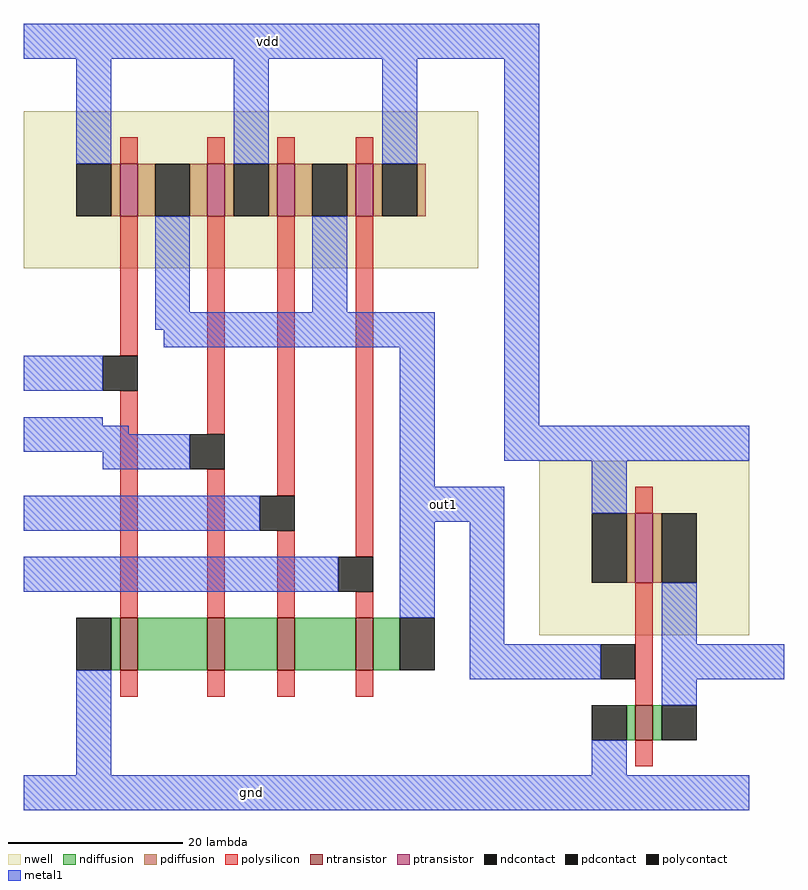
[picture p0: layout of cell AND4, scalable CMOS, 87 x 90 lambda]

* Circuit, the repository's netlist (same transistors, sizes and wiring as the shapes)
* SPICE3 file created from AND4.ext - technology: scmos

.include TSMC_180nm.txt

vdd vdd gnd 2.0V

.option scale=0.09u

Vin1 A gnd pulse(0 2.0 0 0.01p 0.01p 10n 20n)
Vin2 B gnd pulse(0 2.0 0 0.01p 0.01p 20n 40n)
Vin3 C gnd pulse(0 2.0 0 0.01p 0.01p 40n 80n)
Vin4 D gnd pulse(0 2.0 0 0.01p 0.01p 80n 160n)

M1000 outout OUT vdd NOT_0/w_0_0# CMOSP w=8 l=2
+  ad=40 pd=26 as=142 ps=96
M1001 outout OUT gnd gnd CMOSN w=4 l=2
+  ad=20 pd=18 as=50 ps=40
M1002 a_7_n52# A gnd gnd CMOSN w=6 l=2
+  ad=48 pd=28 as=0 ps=0
M1003 a_25_n52# C a_17_n52# gnd CMOSN w=6 l=2
+  ad=42 pd=26 as=36 ps=24
M1004 vdd B OUT w_n6_n6# CMOSP w=6 l=2
+  ad=0 pd=0 as=90 ps=54
M1005 vdd D OUT w_n6_n6# CMOSP w=6 l=2
+  ad=0 pd=0 as=0 ps=0
M1006 OUT C vdd w_n6_n6# CMOSP w=6 l=2
+  ad=0 pd=0 as=0 ps=0
M1007 OUT D a_25_n52# gnd CMOSN w=6 l=2
+  ad=42 pd=26 as=0 ps=0
M1008 OUT A vdd w_n6_n6# CMOSP w=6 l=2
+  ad=0 pd=0 as=0 ps=0
M1009 a_17_n52# B a_7_n52# gnd CMOSN w=6 l=2
+  ad=0 pd=0 as=0 ps=0

.control
tran 1n 320n
plot v(A) 
plot v(B)
plot v(C)
plot v(D)
plot v(outout)
.endc
.end

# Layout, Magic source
magic
tech scmos
<< nwell >>
rect -6 -6 46 12
<< ntransistor >>
rect 5 -52 7 -46
rect 15 -52 17 -46
rect 23 -52 25 -46
rect 32 -52 34 -46
<< ptransistor >>
rect 5 0 7 6
rect 15 0 17 6
rect 23 0 25 6
rect 32 0 34 6
<< ndiffusion >>
rect 4 -52 5 -46
rect 7 -52 15 -46
rect 17 -52 23 -46
rect 25 -52 32 -46
rect 34 -52 37 -46
<< pdiffusion >>
rect 4 0 5 6
rect 7 0 9 6
rect 13 0 15 6
rect 17 0 18 6
rect 22 0 23 6
rect 25 0 27 6
rect 31 0 32 6
rect 34 0 35 6
rect 39 0 40 6
<< ndcontact >>
rect 0 -52 4 -46
rect 37 -52 41 -46
<< pdcontact >>
rect 0 0 4 6
rect 9 0 13 6
rect 18 0 22 6
rect 27 0 31 6
rect 35 0 39 6
<< polysilicon >>
rect 5 6 7 9
rect 15 6 17 9
rect 23 6 25 9
rect 32 6 34 9
rect 5 -16 7 0
rect 5 -46 7 -20
rect 15 -25 17 0
rect 15 -46 17 -29
rect 23 -32 25 0
rect 23 -46 25 -36
rect 32 -39 34 0
rect 32 -46 34 -43
rect 5 -55 7 -52
rect 15 -55 17 -52
rect 23 -55 25 -52
rect 32 -55 34 -52
<< polycontact >>
rect 3 -20 7 -16
rect 13 -29 17 -25
rect 21 -36 25 -32
rect 30 -43 34 -39
<< metal1 >>
rect -6 18 53 22
rect 0 6 4 18
rect 18 6 22 18
rect 35 6 39 18
rect 9 -11 13 0
rect 27 -11 31 0
rect 9 -13 41 -11
rect 10 -15 41 -13
rect -6 -20 3 -16
rect -6 -24 3 -23
rect -6 -25 6 -24
rect -6 -27 13 -25
rect 3 -29 13 -27
rect 37 -31 41 -15
rect 49 -28 53 18
rect -6 -36 21 -32
rect 37 -35 49 -31
rect -6 -43 30 -39
rect 37 -46 41 -35
rect 0 -64 4 -52
rect 45 -53 49 -35
rect -6 -68 53 -64
use NOT  NOT_0
transform 1 0 53 0 1 -48
box -4 -20 28 24
<< labels >>
rlabel metal1 22 20 22 20 5 vdd
rlabel metal1 42 -33 42 -33 1 out1
rlabel metal1 20 -66 20 -66 1 gnd
<< end >>

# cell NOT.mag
magic
tech scmos
<< nwell >>
rect 0 0 24 20
<< ntransistor >>
rect 11 -12 13 -8
<< ptransistor >>
rect 11 6 13 14
<< ndiffusion >>
rect 10 -12 11 -8
rect 13 -12 14 -8
<< pdiffusion >>
rect 10 6 11 14
rect 13 6 14 14
<< ndcontact >>
rect 6 -12 10 -8
rect 14 -12 18 -8
<< pdcontact >>
rect 6 6 10 14
rect 14 6 18 14
<< polysilicon >>
rect 11 14 13 17
rect 11 -8 13 6
rect 11 -15 13 -12
<< polycontact >>
rect 7 -5 11 -1
<< metal1 >>
rect 0 20 24 24
rect 6 14 10 20
rect 14 -1 18 6
rect -4 -5 7 -1
rect 14 -5 28 -1
rect 14 -8 18 -5
rect 6 -16 10 -12
rect 0 -20 24 -16
<< labels >>
rlabel metal1 0 20 24 24 5 vdd
rlabel metal1 0 -20 24 -16 1 gnd
<< end >>
